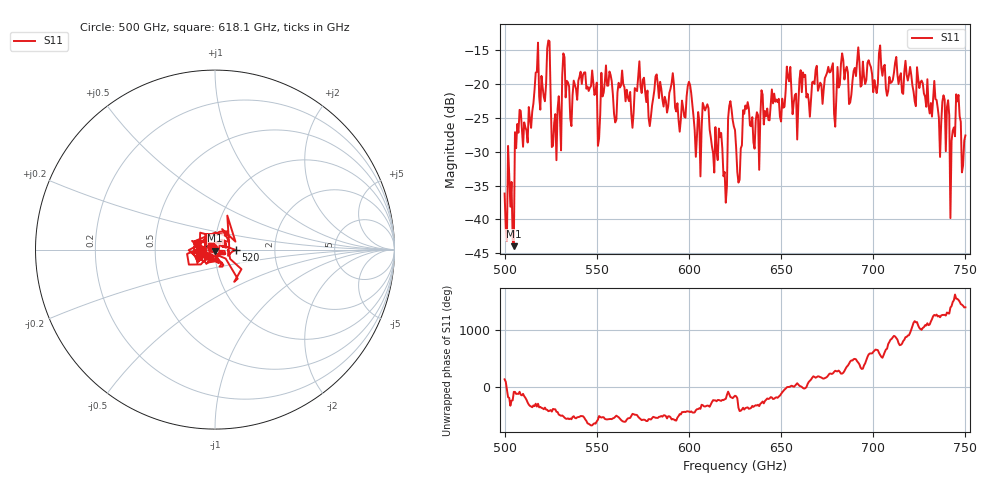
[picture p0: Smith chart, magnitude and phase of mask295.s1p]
!Created with skrf (http://scikit-rf.org).
# GHz S MA R 50.0
!freq magS11 angS11
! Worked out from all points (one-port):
!   401 points, 500 GHz to 750 GHz, reference 50 ohm
!   lowest |S11| = -43.9 dB at 505 GHz (marker M1), VSWR 1.01, Z = 50.1 - j0.63 ohm
!   |S11| at or under -10 dB: start of sweep to end of sweep
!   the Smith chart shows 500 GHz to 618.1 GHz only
!   S11 on the Smith chart (normalised r, x): 500 GHz: 0.98, +0.02; 520 GHz: 1.26, -0.00; 618.1 GHz: 0.95, +0.04
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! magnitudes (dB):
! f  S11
! 500 GHz  -36.2
! 505 GHz  -43.9
! 507.5 GHz  -27.2
! 520 GHz  -18.8
! 523.8 GHz  -13.6
! 526.9 GHz  -25.8
! 531.2 GHz  -18.9
! 542.5 GHz  -18.7
! 550.6 GHz  -29.1
! 562.5 GHz  -20.5
! 593.8 GHz  -22.9
! 600 GHz  -19.7
! 605 GHz  -24.2
! 608.8 GHz  -23.9
! 618.1 GHz  -29.5
! 620 GHz  -37.5
! 622.5 GHz  -22.6
! 625 GHz  -26.8
! 627.5 GHz  -34.2
! 630.6 GHz  -23.2
! 636.9 GHz  -24.2
! 656.2 GHz  -24.5
! 687.5 GHz  -22.7
! 718.8 GHz  -19.5
! 739.4 GHz  -29.9
! 743.1 GHz  -26.9
! 746.2 GHz  -21.6
! 750 GHz  -27.6
